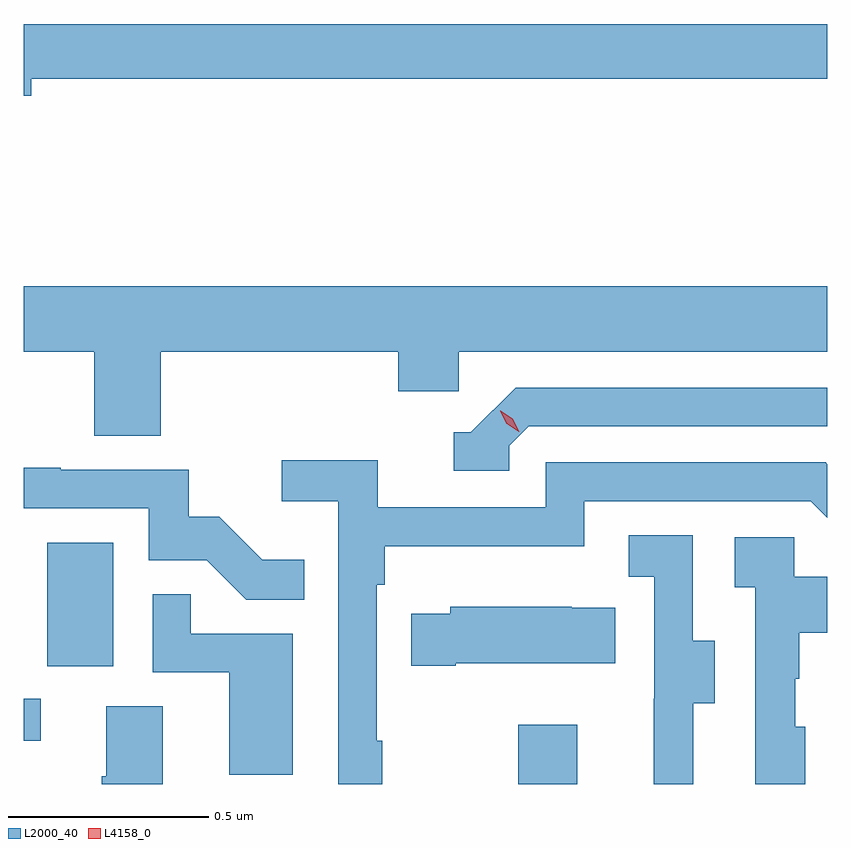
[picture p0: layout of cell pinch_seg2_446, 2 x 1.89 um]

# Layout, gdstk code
import gdstk
lib = gdstk.Library(unit=1e-6, precision=1e-09)
def R(c, l, rs):  # rectangles x0, y0, x1, y1
    for r in rs: c.add(gdstk.rectangle(r[:2], r[2:], *l))
def P(c, l, *ps):  # polygons
    for p in ps: c.add(gdstk.Polygon(p, *l))
L2000_40 = (2000, 40)
L4158_0 = (4158, 0)

pinch_seg2_446 = lib.new_cell('pinch_seg2_446')
R(pinch_seg2_446, L2000_40, [(914.188,606.601,914.335,606.748), (912.957,606.708,913,606.813), (913.016,606.894,913.18,607.201)])
P(pinch_seg2_446, L2000_40, [(912.976,608.356),(914.957,608.356),(914.957,608.492),(912.957,608.492),(912.957,608.314),(912.976,608.314)],
  [(913.298,607.676),(913.889,607.676),(913.889,607.578),(914.04,607.578),(914.04,607.676),(914.957,607.676),(914.957,607.84),(912.957,607.84),(912.957,607.676),(913.133,607.676),(913.133,607.468),(913.298,607.468)],
  [(914.166,607.443),(914.214,607.491),(914.957,607.491),(914.957,607.587),(914.181,607.587),(914.07,607.476),(914.027,607.476),(914.027,607.38),(914.166,607.38)],
  [(913.849,606.709),(913.836,606.709),(913.836,607.097),(913.856,607.097),(913.856,607.193),(914.352,607.193),(914.352,607.305),(914.916,607.305),(914.957,607.264),(914.957,607.397),(914.953,607.401),(914.256,607.401),(914.256,607.29),(913.838,607.29),(913.838,607.406),(913.599,607.406),(913.599,607.304),(913.74,607.304),(913.74,606.601),(913.849,606.601)],
  [(913.655,607.159),(913.551,607.159),(913.444,607.266),(913.368,607.266),(913.368,607.383),(913.049,607.383),(913.049,607.388),(912.957,607.388),(912.957,607.287),(913.269,607.287),(913.269,607.158),(913.413,607.158),(913.511,607.06),(913.655,607.06)],
  [(914.623,606.802),(914.677,606.802),(914.677,606.957),(914.622,606.957),(914.622,607.22),(914.463,607.22),(914.463,607.117),(914.526,607.117),(914.526,606.813),(914.525,606.813),(914.525,606.601),(914.623,606.601)],
  [(914.902,606.744),(914.877,606.744),(914.877,606.863),(914.887,606.863),(914.887,606.977),(914.957,606.977),(914.957,607.117),(914.874,607.117),(914.874,607.215),(914.727,607.215),(914.727,607.091),(914.778,607.091),(914.778,606.601),(914.902,606.601)],
  [(913.627,606.975),(913.373,606.975),(913.373,607.073),(913.278,607.073),(913.278,606.879),(913.469,606.879),(913.469,606.624),(913.627,606.624)],
  [(914.032,606.902),(914.429,606.902),(914.429,607.039),(914.321,607.039),(914.321,607.042),(914.019,607.042),(914.019,607.024),(913.921,607.024),(913.921,606.895),(914.032,606.895)],
  [(913.303,606.794),(913.163,606.794),(913.163,606.62),(913.151,606.62),(913.151,606.601),(913.303,606.601)])
P(pinch_seg2_446, L4158_0, [(914.189,607.477),(914.159,607.497),(914.143,607.529),(914.143,607.53),(914.144,607.53),(914.174,607.51),(914.19,607.477),(914.19,607.477)])

lib.write_gds('pinch_seg2_446.gds')
